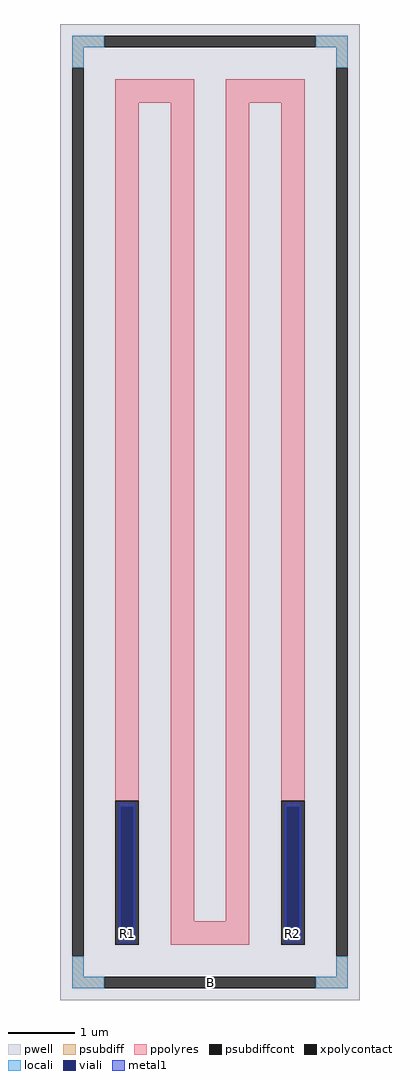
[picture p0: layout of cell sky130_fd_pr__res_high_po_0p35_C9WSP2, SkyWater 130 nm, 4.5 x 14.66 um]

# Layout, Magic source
magic
tech sky130A
magscale 1 2
<< pwell >>
rect -450 -1466 450 1466
<< psubdiff >>
rect -414 1396 -318 1430
rect 318 1396 414 1430
rect -414 1334 -380 1396
rect 380 1334 414 1396
rect -414 -1396 -380 -1334
rect 380 -1396 414 -1334
rect -414 -1430 -318 -1396
rect 318 -1430 414 -1396
<< psubdiffcont >>
rect -318 1396 318 1430
rect -414 -1334 -380 1334
rect 380 -1334 414 1334
rect -318 -1430 318 -1396
<< xpolycontact >>
rect -284 -1300 -214 -868
rect 214 -1300 284 -868
<< ppolyres >>
rect -284 1230 -48 1300
rect -284 -868 -214 1230
rect -118 -1230 -48 1230
rect 48 1230 284 1300
rect 48 -1230 118 1230
rect -118 -1300 118 -1230
rect 214 -868 284 1230
<< locali >>
rect -414 1396 -318 1430
rect 318 1396 414 1430
rect -414 1334 -380 1396
rect 380 1334 414 1396
rect -414 -1396 -380 -1334
rect 380 -1396 414 -1334
rect -414 -1430 -318 -1396
rect 318 -1430 414 -1396
<< viali >>
rect -268 -1282 -230 -885
rect 230 -1282 268 -885
<< metal1 >>
rect -274 -885 -224 -873
rect -274 -1282 -268 -885
rect -230 -1282 -224 -885
rect -274 -1294 -224 -1282
rect 224 -885 274 -873
rect 224 -1282 230 -885
rect 268 -1282 274 -885
rect 224 -1294 274 -1282
<< labels >>
rlabel psubdiffcont 0 -1413 0 -1413 0 B
port 1 nsew
rlabel xpolycontact -249 -1265 -249 -1265 0 R1
port 2 nsew
rlabel xpolycontact 249 -1265 249 -1265 0 R2
port 3 nsew
<< properties >>
string FIXED_BBOX -397 -1413 397 1413
string gencell sky130_fd_pr__res_high_po_0p35
string library sky130
string parameters w 0.35 l 13.0 m 1 nx 4 wmin 0.350 lmin 0.50 class resistor rho 319.8 val 49.585k dummy 0 dw 0.0 term 194.82 sterm 0.0 caplen 0 guard 1 glc 1 grc 1 gtc 1 gbc 1 compatible {sky130_fd_pr__res_high_po_0p35  sky130_fd_pr__res_high_po_0p69 sky130_fd_pr__res_high_po_1p41  sky130_fd_pr__res_high_po_2p85 sky130_fd_pr__res_high_po_5p73} snake 1 full_metal 1 wmax 0.350 vias 1 n_guard 0 hv_guard 0 viagb 0 viagt 0 viagl 0 viagr 0 doports 1
<< end >>
